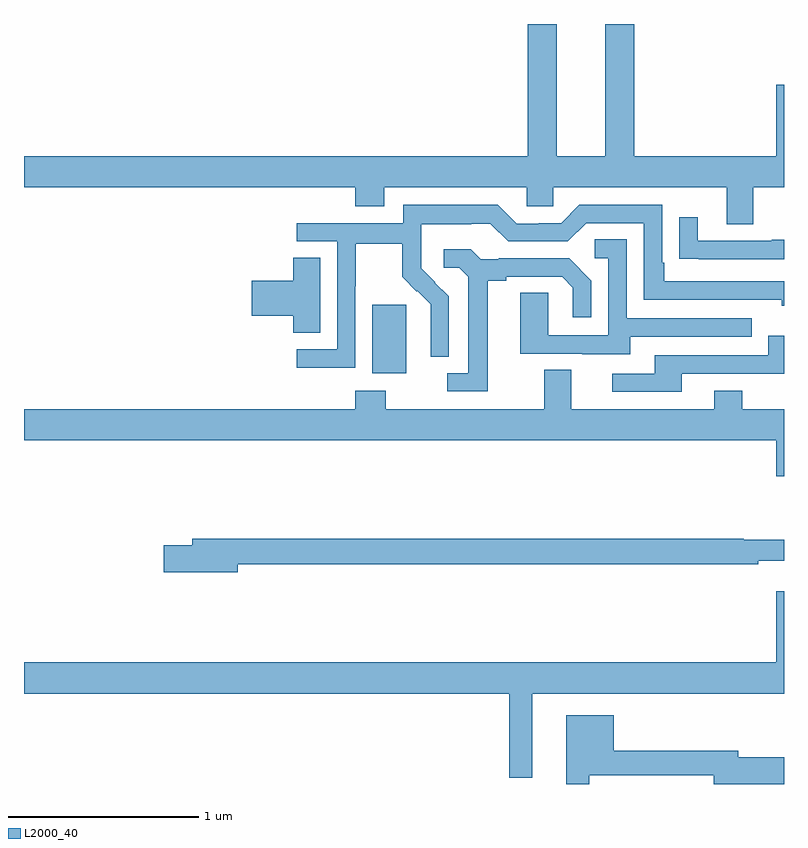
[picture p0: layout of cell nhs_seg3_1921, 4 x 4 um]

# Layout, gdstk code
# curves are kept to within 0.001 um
import gdstk
lib = gdstk.Library(unit=1e-6, precision=1e-09)
def R(c, l, rs):  # rectangles x0, y0, x1, y1
    for r in rs: c.add(gdstk.rectangle(r[:2], r[2:], *l))
def P(c, l, *ps):  # polygons
    for p in ps: c.add(gdstk.Polygon(p, *l))
L2000_40 = (2000, 40)

nhs_seg3_1921 = lib.new_cell('nhs_seg3_1921')
R(nhs_seg3_1921, L2000_40, [(210.833,742.562,211.012,742.923)])
P(nhs_seg3_1921, L2000_40, [(212.839,743.54),(213,743.54),(213,744.079),(212.96,744.079),(212.96,743.704),(212.213,743.704),(212.213,744.4),(212.06,744.4),(212.06,743.704),(211.804,743.704),(211.804,744.4),(211.652,744.4),(211.652,743.704),(209,743.704),(209,743.54),(210.743,743.54),(210.743,743.441),(210.895,743.441),(210.895,743.54),(211.647,743.54),(211.647,743.442),(211.785,743.442),(211.785,743.54),(212.699,743.54),(212.699,743.346),(212.839,743.346)],
  [(210.744,743.02),(210.747,743.02),(210.747,743.244),(210.991,743.244),(210.991,743.069),(211.068,742.992),(211.071,742.995),(211.142,742.925),(211.142,742.802),(211.14,742.802),(211.14,742.648),(211.236,742.648),(211.236,742.966),(211.09,743.114),(211.09,743.211),(211.092,743.211),(211.092,743.345),(211.355,743.345),(211.355,743.349),(211.455,743.349),(211.548,743.256),(211.863,743.256),(211.959,743.352),(212.262,743.352),(212.262,742.95),(212.987,742.95),(212.987,742.916),(213,742.916),(213,743.046),(212.371,743.046),(212.371,743.143),(212.358,743.143),(212.358,743.448),(211.923,743.448),(211.827,743.352),(211.709,743.352),(211.709,743.349),(211.593,743.349),(211.493,743.449),(210.996,743.449),(210.996,743.352),(210.435,743.352),(210.435,743.256),(210.648,743.256),(210.648,742.689),(210.435,742.689),(210.435,742.591),(210.744,742.591)],
  [(213,743.264),(212.935,743.264),(212.935,743.259),(212.545,743.259),(212.545,743.383),(212.449,743.383),(212.449,743.164),(212.551,743.164),(212.551,743.163),(213,743.163)],
  [(212.191,742.755),(212.831,742.755),(212.831,742.851),(212.172,742.851),(212.172,743.267),(212.004,743.267),(212.004,743.166),(212.076,743.166),(212.076,742.761),(211.758,742.761),(211.758,742.985),(211.613,742.985),(211.613,742.665),(211.937,742.665),(211.937,742.661),(212.191,742.661)],
  [(211.441,743.048),(211.537,743.048),(211.537,743.07),(211.832,743.07),(211.889,743.013),(211.889,742.857),(211.986,742.857),(211.986,743.05),(211.87,743.166),(211.498,743.166),(211.498,743.163),(211.404,743.163),(211.352,743.215),(211.209,743.215),(211.209,743.118),(211.29,743.118),(211.337,743.071),(211.337,742.563),(211.227,742.563),(211.227,742.467),(211.441,742.467)],
  [(210.559,743.171),(210.416,743.171),(210.416,743.048),(210.198,743.048),(210.198,742.865),(210.416,742.865),(210.416,742.774),(210.559,742.774)],
  [(212.461,742.56),(213,742.56),(213,742.759),(212.916,742.759),(212.916,742.656),(212.321,742.656),(212.321,742.56),(212.097,742.56),(212.097,742.464),(212.461,742.464)],
  [(213,742.372),(212.781,742.372),(212.781,742.471),(212.633,742.471),(212.633,742.372),(211.879,742.372),(211.879,742.58),(211.739,742.58),(211.739,742.372),(210.903,742.372),(210.903,742.471),(210.743,742.471),(210.743,742.372),(209,742.372),(209,742.208),(212.96,742.208),(212.96,742.02),(213,742.02)],
  [(210.124,741.556),(212.864,741.556),(212.864,741.575),(213,741.575),(213,741.685),(212.789,741.685),(212.789,741.692),(209.885,741.692),(209.885,741.656),(209.736,741.656),(209.736,741.514),(210.124,741.514)],
  [(211.675,740.876),(213,740.876),(213,741.415),(212.96,741.415),(212.96,741.04),(209,741.04),(209,740.876),(211.554,740.876),(211.554,740.432),(211.675,740.432)],
  [(211.975,740.446),(212.63,740.446),(212.63,740.4),(213,740.4),(213,740.541),(212.758,740.541),(212.758,740.575),(212.104,740.575),(212.104,740.761),(211.853,740.761),(211.853,740.4),(211.975,740.4)])

lib.write_gds('nhs_seg3_1921.gds')
